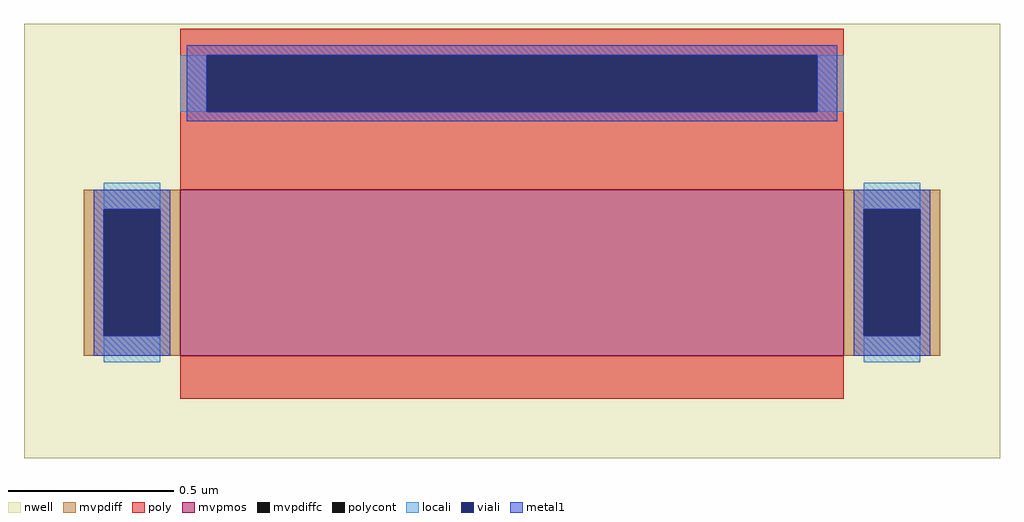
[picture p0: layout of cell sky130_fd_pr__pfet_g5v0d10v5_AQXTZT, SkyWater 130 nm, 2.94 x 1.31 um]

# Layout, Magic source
magic
tech sky130A
magscale 1 2
<< nwell >>
rect -294 -148 294 114
<< mvpmos >>
rect -200 -86 200 14
<< mvpdiff >>
rect -258 2 -200 14
rect -258 -74 -246 2
rect -212 -74 -200 2
rect -258 -86 -200 -74
rect 200 2 258 14
rect 200 -74 212 2
rect 246 -74 258 2
rect 200 -86 258 -74
<< mvpdiffc >>
rect -246 -74 -212 2
rect 212 -74 246 2
<< poly >>
rect -200 95 200 111
rect -200 61 -184 95
rect 184 61 200 95
rect -200 14 200 61
rect -200 -112 200 -86
<< polycont >>
rect -184 61 184 95
<< locali >>
rect -200 61 -184 95
rect 184 61 200 95
rect -246 2 -212 18
rect -246 -90 -212 -74
rect 212 2 246 18
rect 212 -90 246 -74
<< viali >>
rect -184 61 184 95
rect -246 -74 -212 2
rect 212 -74 246 2
<< metal1 >>
rect -196 95 196 101
rect -196 61 -184 95
rect 184 61 196 95
rect -196 55 196 61
rect -252 2 -206 14
rect -252 -74 -246 2
rect -212 -74 -206 2
rect -252 -86 -206 -74
rect 206 2 252 14
rect 206 -74 212 2
rect 246 -74 252 2
rect 206 -86 252 -74
<< properties >>
string gencell sky130_fd_pr__pfet_g5v0d10v5
string library sky130
string parameters w 0.5 l 2 m 1 nf 1 diffcov 100 polycov 100 guard 0 glc 1 grc 1 gtc 1 gbc 1 tbcov 100 rlcov 100 topc 1 botc 0 poverlap 0 doverlap 1 lmin 0.50 wmin 0.42 compatible {sky130_fd_pr__pfet_01v8  sky130_fd_pr__pfet_01v8_lvt sky130_fd_pr__pfet_01v8_hvt  sky130_fd_pr__pfet_g5v0d10v5} full_metal 1 viasrc 100 viadrn 100 viagate 100 viagb 0 viagr 0 viagl 0 viagt 0
<< end >>
